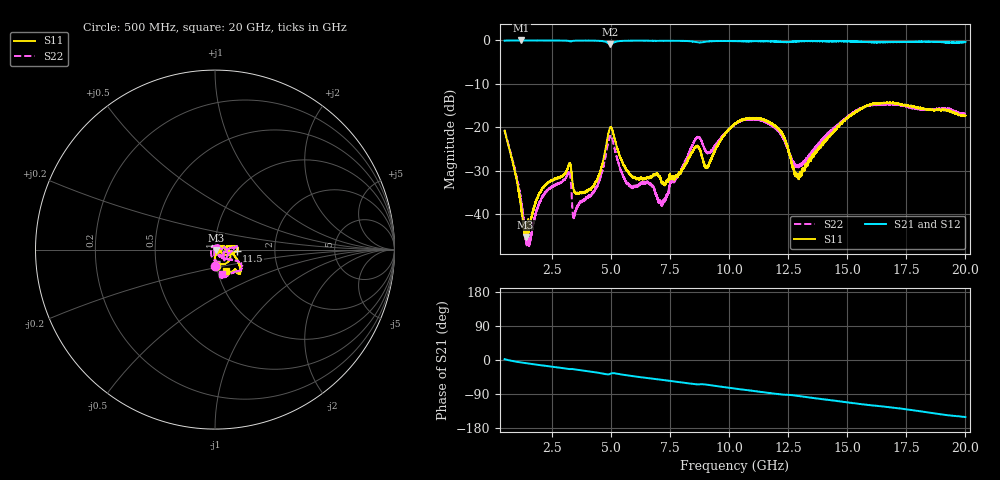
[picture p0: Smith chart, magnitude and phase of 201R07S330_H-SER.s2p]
!{201R07S330}
!Johanson Technology Inc.
!www.johansontechnology.com
!Test Board Conditions:
!Substrate Type  RO4350B
!Substrate Thickness  10 mil
!Substrate Dk  3.66
!TL Type: GCPW
!TL Trace Width  21 mil
!TL Gap  20 mil
!Electrode orientation  Horizontal
!DUT TOPOLOGY	SERIES
!Mounting Pad LxW  16x21 mil
!Agilent Technologies,N5230A,MY45001966,A.07.50.67
!Agilent N5230A: A.07.50.67
! Created Mon Mar  9 16:12:35 2020
# mhz S ma R 50
! 2 Port Network Data from SP1.SP block
! freq  magS11  angS11  magS21  angS21  magS12  angS12  magS22  angS22
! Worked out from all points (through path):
!   19501 points, 500 MHz to 20 GHz, reference 50 ohm
!   highest |S21| = -0.01 dB at 1.211 GHz (marker M1); lowest = -0.8 dB at 4.972 GHz (marker M2)
!   group delay of S21, straight-line fit = 21.1 ps
!   lowest |S11| = -45.2 dB at 1.388 GHz (marker M3), VSWR 1.01, Z = 50.5 - j0.146 ohm
!   |S11| at or under -10 dB: start of sweep to end of sweep
!   |S22| runs from -47.3 to -14.6 dB; largest |S21 - S12| = 0.014
!   S11 on the Smith chart (normalised r, x): 500 MHz: 0.99, -0.18; 11.5 GHz: 1.27, -0.02; 20 GHz: 1.10, -0.27
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500  0.09179 -87.8  0.9938 2.3  0.9953 2.3  0.0931 -88.4
1211  0.01118 -76.5  0.9993 -6.6  0.9975 -6.6  0.01341 -111.3
1388  0.005485 -15.2  0.9985 -8.2  0.9986 -8.3  0.00521 -149.8
1598  0.008358 28.4  0.9979 -10.1  0.9986 -10.1  0.00521 142.0
2047  0.01874 48.1  0.9981 -13.9  0.997 -13.9  0.01478 96.9
3214  0.03674 32.5  0.986 -23.8  0.9859 -23.8  0.03011 53.1
3441  0.01859 6.8  0.9914 -24.5  0.9908 -24.5  0.009462 54.8
3750  0.01767 22.6  0.9956 -27.3  0.9952 -27.3  0.01408 74.3
4446  0.02616 18.1  0.9913 -33.5  0.9906 -33.5  0.0221 57.1
4972  0.09962 -35.7  0.9071 -36.5  0.9082 -36.5  0.07895 -36.6
5856  0.02772 -76.3  0.9935 -42.0  0.9925 -42.0  0.02056 178.4
7000  0.0281 -27.2  0.9876 -51.2  0.9876 -51.3  0.01451 95.1
7755  0.02731 27.5  0.9914 -57.2  0.9905 -57.3  0.02563 23.1
8614  0.05942 -1.5  0.9574 -64.2  0.9575 -64.2  0.07548 -18.4
9072  0.03535 -2.2  0.9717 -65.2  0.9716 -65.3  0.05084 -26.3
10250  0.1107 9.5  0.9819 -75.4  0.9816 -75.4  0.1095 7.0
11501  0.1208 -3.3  0.9793 -85.5  0.9813 -85.3  0.1158 7.2
12258  0.0828 -19.4  0.9607 -91.0  0.9636 -91.2  0.07842 -16.9
12870  0.02889 0.4  0.9751 -94.3  0.9762 -94.4  0.03667 -51.3
13500  0.04511 24.9  0.9845 -99.9  0.9832 -99.8  0.05119 -53.7
16750  0.1902 -43.8  0.9576 -124.2  0.9512 -124.5  0.1837 -38.9
20000  0.1361 -61.9  0.9562 -150.6  0.9562 -150.6  0.143 -74.4
